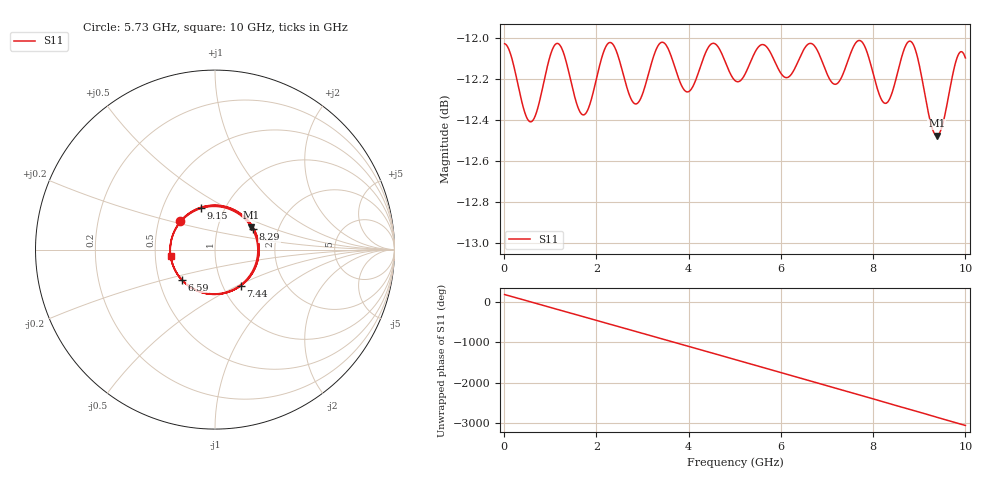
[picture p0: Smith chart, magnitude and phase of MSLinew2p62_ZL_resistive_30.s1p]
! TOUCHSTONE file generated by CST MICROWAVE STUDIO
! Date and time: Tue Feb 18 19:56:00 2025
! Project name: MSLineZL_resistive.cst
! Parameters = {ZL=30; C=0; L=100; Lamb=0.05; Li=0; R=1e-13; W=20; Zp2=50; dlump=2; er=2; h=0.8; w1=2.62}
! Header version: 2024
! Port assignment regex: !\s*Touchstone port\s*([0-9]+)\s*=\s*(CST MWS port|CST DES external port|CST DES block port)\s*(.+)\s* \(\"(.*)\"\)(\s*mode\s*([0-9]+))?.*
! Touchstone port assignment:
! Touchstone port 1 = CST MWS port 1 ("")
# GHz S MA R 50
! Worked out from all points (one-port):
!   1000 points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, 10 MHz to 10 GHz, reference 50 ohm
!   lowest |S11| = -12.5 dB at 9.38 GHz (marker M1), VSWR 1.62, Z = 72.4 + j19.1 ohm
!   |S11| at or under -10 dB: start of sweep to end of sweep
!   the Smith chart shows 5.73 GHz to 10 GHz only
!   S11 on the Smith chart (normalised r, x): 5.73 GHz: 0.65, +0.22; 6.59 GHz: 0.65, -0.23; 7.44 GHz: 1.21, -0.52; 8.29 GHz: 1.49, +0.36; 9.15 GHz: 0.78, +0.38; 10 GHz: 0.60, -0.05
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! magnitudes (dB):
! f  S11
! 10 MHz  -12.0
! 570 MHz  -12.4
! 1.05 GHz  -12.1
! 1.26 GHz  -12.1
! 1.71 GHz  -12.4
! 2.23 GHz  -12.0
! 2.51 GHz  -12.1
! 2.84 GHz  -12.3
! 3.39 GHz  -12.0
! 3.76 GHz  -12.2
! 4.03 GHz  -12.3
! 4.54 GHz  -12.0
! 5.01 GHz  -12.2
! 5.73 GHz  -12.1
! 6.05 GHz  -12.2
! 6.26 GHz  -12.2
! 6.59 GHz  -12.0
! 7.15 GHz  -12.2
! 7.44 GHz  -12.1
! 7.51 GHz  -12.1
! 7.77 GHz  -12.0
! 8.29 GHz  -12.3
! 8.76 GHz  -12.0
! 8.93 GHz  -12.1
! 9.15 GHz  -12.3
! 9.38 GHz  -12.5
! 9.82 GHz  -12.1
! 10 GHz  -12.1
